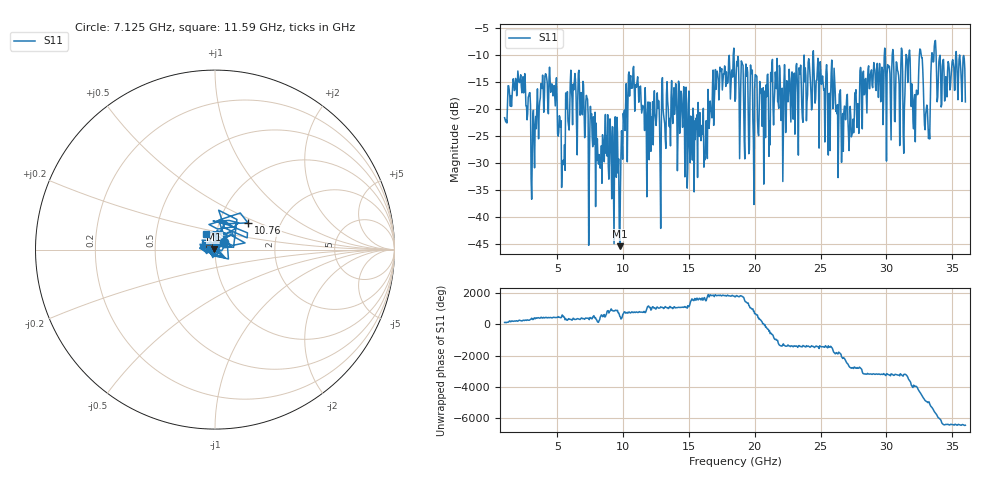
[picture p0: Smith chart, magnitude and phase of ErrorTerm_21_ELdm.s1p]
!  1-Port S-parameters saved by WinCal
! VAR NAME=2-Port LRRM (Conv to 12) labuser
! VAR Error Term Name=ELdm phys rcv port 2 phys src port 1
# Hz S RI R 50
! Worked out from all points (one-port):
!   801 points, 1 GHz to 36 GHz, reference 50 ohm
!   lowest |S11| = -45.4 dB at 9.75 GHz (marker M1), VSWR 1.01, Z = 49.5 + j0.164 ohm
!   |S11| at or under -10 dB: start of sweep to 18.37 GHz; 18.43 GHz to 24.42 GHz (5.999 GHz wide, 28 % of centre); 24.46 GHz to 29.84 GHz (5.382 GHz wide, 19.8 % of centre)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
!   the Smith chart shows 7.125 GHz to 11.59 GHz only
!   S11 on the Smith chart (normalised r, x): 7.125 GHz: 1.10, +0.09; 10.76 GHz: 1.37, +0.43; 11.59 GHz: 0.89, +0.16
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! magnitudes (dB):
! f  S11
! 1 GHz  -21.6
! 2.4 GHz  -14.0
! 3.188 GHz  -20.2
! 3.931 GHz  -16.1
! 4.544 GHz  -16.0
! 5.375 GHz  -30.6
! 6.162 GHz  -22.9
! 7.125 GHz  -23.9
! 8.088 GHz  -28.9
! 9.75 GHz  -45.4
! 10.76 GHz  -12.5
! 11.59 GHz  -19.8
! 14.12 GHz  -31.4
! 16.23 GHz  -29.4
! 17.19 GHz  -13.6
! 18.5 GHz  -18.6
! 19.77 GHz  -13.0
! 22.88 GHz  -19.2
! 25.94 GHz  -19.9
! 27.25 GHz  -19.5
! 28.96 GHz  -16.1
! 31.19 GHz  -9.2
! 31.62 GHz  -15.1
! 32.06 GHz  -23.7
! 32.63 GHz  -9.7
! 33.11 GHz  -20.0
! 33.59 GHz  -11.2
! 36 GHz  -18.7
